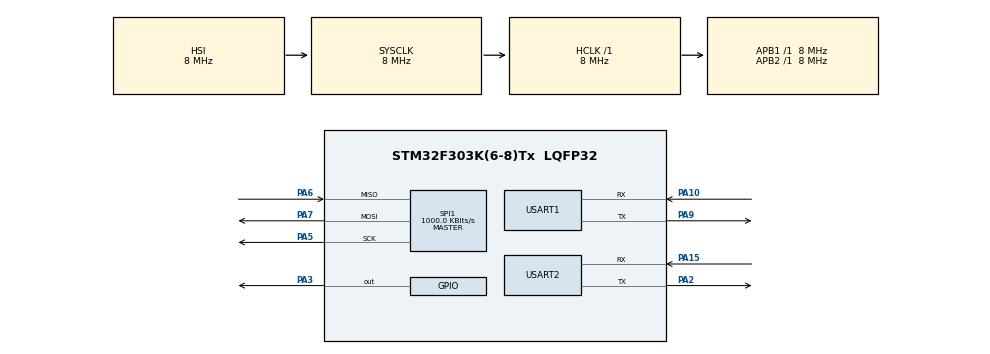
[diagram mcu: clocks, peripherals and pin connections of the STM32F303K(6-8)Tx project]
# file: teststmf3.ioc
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Mcu.Family=STM32F3
Mcu.Name=STM32F303K(6-8)Tx
Mcu.Package=LQFP32
NVIC.PriorityGroup=NVIC_PRIORITYGROUP_4
PA10.Mode=Asynchronous
PA10.Signal=USART1_RX
PA15.Mode=Asynchronous
PA15.Signal=USART2_RX
PA2.Mode=Asynchronous
PA2.Signal=USART2_TX
PA3.Signal=GPIO_Output
PA5.Mode=Full_Duplex_Master
PA5.Signal=SPI1_SCK
PA6.Mode=Full_Duplex_Master
PA6.Signal=SPI1_MISO
PA7.Mode=Full_Duplex_Master
PA7.Signal=SPI1_MOSI
PA9.Mode=Asynchronous
PA9.Signal=USART1_TX
ProjectManager.HeapSize=0x200
ProjectManager.StackSize=0x400
ProjectManager.TargetToolchain=SW4STM32
RCC.AHBFreq_Value=8000000
RCC.APB1Freq_Value=8000000
RCC.APB2Freq_Value=8000000
RCC.CortexFreq_Value=8000000
RCC.HSE_VALUE=8000000
RCC.HSI_VALUE=8000000
RCC.SYSCLKFreq_VALUE=8000000
SPI1.BaudRatePrescaler=SPI_BAUDRATEPRESCALER_8
SPI1.CalculateBaudRate=1000.0 KBits/s
SPI1.DataSize=SPI_DATASIZE_8BIT
SPI1.Direction=SPI_DIRECTION_2LINES
SPI1.Mode=SPI_MODE_MASTER
SPI1.VirtualType=VM_MASTER
USART1.VirtualMode-Asynchronous=VM_ASYNC
USART2.VirtualMode-Asynchronous=VM_ASYNC
board=custom

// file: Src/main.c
/**
  ******************************************************************************
  * @file           : main.c
  * @brief          : Main program body
  ******************************************************************************
  ** This notice applies to any and all portions of this file
  * that are not between comment pairs USER CODE BEGIN and
  * USER CODE END. Other portions of this file, whether
  * inserted by the user or by software development tools
  * are owned by their respective copyright owners.
  *
  * COPYRIGHT(c) 2018 STMicroelectronics
  *
  * Redistribution and use in source and binary forms, with or without modification,
  * are permitted provided that the following conditions are met:
  *   1. Redistributions of source code must retain the above copyright notice,
  *      this list of conditions and the following disclaimer.
  *   2. Redistributions in binary form must reproduce the above copyright notice,
  *      this list of conditions and the following disclaimer in the documentation
  *      and/or other materials provided with the distribution.
  *   3. Neither the name of STMicroelectronics nor the names of its contributors
  *      may be used to endorse or promote products derived from this software
  *      without specific prior written permission.
  *
  * THIS SOFTWARE IS PROVIDED BY THE COPYRIGHT HOLDERS AND CONTRIBUTORS "AS IS"
  * AND ANY EXPRESS OR IMPLIED WARRANTIES, INCLUDING, BUT NOT LIMITED TO, THE
  * IMPLIED WARRANTIES OF MERCHANTABILITY AND FITNESS FOR A PARTICULAR PURPOSE ARE
  * DISCLAIMED. IN NO EVENT SHALL THE COPYRIGHT HOLDER OR CONTRIBUTORS BE LIABLE
  * FOR ANY DIRECT, INDIRECT, INCIDENTAL, SPECIAL, EXEMPLARY, OR CONSEQUENTIAL
  * DAMAGES (INCLUDING, BUT NOT LIMITED TO, PROCUREMENT OF SUBSTITUTE GOODS OR
  * SERVICES; LOSS OF USE, DATA, OR PROFITS; OR BUSINESS INTERRUPTION) HOWEVER
  * CAUSED AND ON ANY THEORY OF LIABILITY, WHETHER IN CONTRACT, STRICT LIABILITY,
  * OR TORT (INCLUDING NEGLIGENCE OR OTHERWISE) ARISING IN ANY WAY OUT OF THE USE
  * OF THIS SOFTWARE, EVEN IF ADVISED OF THE POSSIBILITY OF SUCH DAMAGE.
  *
  ******************************************************************************
  */
#include "main.h"
#include "stm32f3xx_hal.h"
#include "ltc68xx.h"

SPI_HandleTypeDef hspi1;

UART_HandleTypeDef huart1;
UART_HandleTypeDef huart2;

/* USER CODE BEGIN PV */
/* Private variables ---------------------------------------------------------*/

uint8_t cell_data[9];
float cell_voltages[108];
float gpio_voltages[6];
uint16_t cell_v[12][2];
uint16_t gpio_v[6][2];
/* USER CODE END PV */

void SystemClock_Config(void);
static void MX_GPIO_Init(void);
static void MX_SPI1_Init(void);
static void MX_USART1_UART_Init(void);
static void MX_USART2_UART_Init(void);

/* USER CODE BEGIN PFP */
/* Private function prototypes -----------------------------------------------*/

/* USER CODE END PFP */

int main(void)
{

  /* MCU Configuration----------------------------------------------------------*/

  /* Reset of all peripherals, Initializes the Flash interface and the Systick. */
  HAL_Init();

  /* Configure the system clock */
  SystemClock_Config();

  /* Initialize all configured peripherals */
  MX_GPIO_Init();
  MX_SPI1_Init();
  MX_USART1_UART_Init();
  MX_USART2_UART_Init();

  /* Infinite loop */
  /* USER CODE BEGIN WHILE */
  while (1)
  {
//		 ltc6804_rdcv_reg(0, TOT_IC, cell_data, hspi1);
//
	ltc6804_adcv(0, &hspi1);
	// ltc6804_adstat( &hspi1);
			  HAL_Delay(10);
			   for(uint8_t current_ic = 0; current_ic < 12; current_ic++){
	ltc6804_rdcv_voltages(current_ic, cell_v,  hspi1);
			 // void ltc6804_rdstat(SPI_HandleTypeDef hspi1,uint16_t cell_voltages[12][2] );
					//HAL_Delay(500);
			 	//  array_voltages(voltages, cell_data);

			 	 	char num[2];
			 	 	sprintf(num, "\r\n");
			 	 	HAL_UART_Transmit(&huart2, &num, strlen(num), 100);
			 	 	 for(int i = 0; i < 12; i++){
			 	 		 char v[32];
			 	 		 sprintf(v, "%d - ",cell_v[i][0]);
			 	 		 HAL_UART_Transmit(&huart2, &v, strlen(v), 100);
			 	 		HAL_Delay(100);
 	 		 cell_voltages[0*12+i] = cell_v[i][0]*0.0001f;
		 	  	 }
  }
//   ltc6804_adax(0,&hspi1);
//  HAL_Delay(10);
// ltc6804_rdaux(0, gpio_voltages,&hspi1);
////
//   char num[2];
//   HAL_UART_Transmit(&huart2, &num, strlen(num), 100);
//	   	 	 		 	 	 for(int i = 0; i < 6; i++){
//	   	 	 		 	 		 char v[32];
//	   	 	 		 	 		 sprintf(v, "%d - ",gpio_v[i][0]);
//	   	 	 		 	 		 HAL_UART_Transmit(&huart2, &v, strlen(v), 100);
//	   	 	 		 	   HAL_Delay(100);
//	   	 	 		 	 	gpio_voltages[i] = gpio_v[i][0]*0.0001f;
//	   	 	 		 	  	 }
  /* USER CODE END WHILE */

  }

}

void SystemClock_Config(void)
{

  RCC_OscInitTypeDef RCC_OscInitStruct;
  RCC_ClkInitTypeDef RCC_ClkInitStruct;
  RCC_PeriphCLKInitTypeDef PeriphClkInit;

    /**Initializes the CPU, AHB and APB busses clocks
    */
  RCC_OscInitStruct.OscillatorType = RCC_OSCILLATORTYPE_HSI;
  RCC_OscInitStruct.HSIState = RCC_HSI_ON;
  RCC_OscInitStruct.HSICalibrationValue = 16;
  RCC_OscInitStruct.PLL.PLLState = RCC_PLL_NONE;
  if (HAL_RCC_OscConfig(&RCC_OscInitStruct) != HAL_OK)
  {
    _Error_Handler(__FILE__, __LINE__);
  }

    /**Initializes the CPU, AHB and APB busses clocks
    */
  RCC_ClkInitStruct.ClockType = RCC_CLOCKTYPE_HCLK|RCC_CLOCKTYPE_SYSCLK
                              |RCC_CLOCKTYPE_PCLK1|RCC_CLOCKTYPE_PCLK2;
  RCC_ClkInitStruct.SYSCLKSource = RCC_SYSCLKSOURCE_HSI;
  RCC_ClkInitStruct.AHBCLKDivider = RCC_SYSCLK_DIV1;
  RCC_ClkInitStruct.APB1CLKDivider = RCC_HCLK_DIV1;
  RCC_ClkInitStruct.APB2CLKDivider = RCC_HCLK_DIV1;

  if (HAL_RCC_ClockConfig(&RCC_ClkInitStruct, FLASH_LATENCY_0) != HAL_OK)
  {
    _Error_Handler(__FILE__, __LINE__);
  }

  PeriphClkInit.PeriphClockSelection = RCC_PERIPHCLK_USART1;
  PeriphClkInit.Usart1ClockSelection = RCC_USART1CLKSOURCE_PCLK1;
  if (HAL_RCCEx_PeriphCLKConfig(&PeriphClkInit) != HAL_OK)
  {
    _Error_Handler(__FILE__, __LINE__);
  }

    /**Configure the Systick interrupt time
    */
  HAL_SYSTICK_Config(HAL_RCC_GetHCLKFreq()/1000);

    /**Configure the Systick
    */
  HAL_SYSTICK_CLKSourceConfig(SYSTICK_CLKSOURCE_HCLK);

  /* SysTick_IRQn interrupt configuration */
  HAL_NVIC_SetPriority(SysTick_IRQn, 0, 0);
}

/* SPI1 init function */
static void MX_SPI1_Init(void)
{

  /* SPI1 parameter configuration*/
  hspi1.Instance = SPI1;
  hspi1.Init.Mode = SPI_MODE_MASTER;
  hspi1.Init.Direction = SPI_DIRECTION_2LINES;
  hspi1.Init.DataSize = SPI_DATASIZE_8BIT;
  hspi1.Init.CLKPolarity = SPI_POLARITY_LOW;
  hspi1.Init.CLKPhase = SPI_PHASE_1EDGE;
  hspi1.Init.NSS = SPI_NSS_SOFT;
  hspi1.Init.BaudRatePrescaler = SPI_BAUDRATEPRESCALER_8;
  hspi1.Init.FirstBit = SPI_FIRSTBIT_MSB;
  hspi1.Init.TIMode = SPI_TIMODE_DISABLE;
  hspi1.Init.CRCCalculation = SPI_CRCCALCULATION_DISABLE;
  hspi1.Init.CRCPolynomial = 7;
  hspi1.Init.CRCLength = SPI_CRC_LENGTH_DATASIZE;
  hspi1.Init.NSSPMode = SPI_NSS_PULSE_ENABLE;
  if (HAL_SPI_Init(&hspi1) != HAL_OK)
  {
    _Error_Handler(__FILE__, __LINE__);
  }

}

/* USART1 init function */
static void MX_USART1_UART_Init(void)
{

  huart1.Instance = USART1;
  huart1.Init.BaudRate = 38400;
  huart1.Init.WordLength = UART_WORDLENGTH_8B;
  huart1.Init.StopBits = UART_STOPBITS_1;
  huart1.Init.Parity = UART_PARITY_NONE;
  huart1.Init.Mode = UART_MODE_TX_RX;
  huart1.Init.HwFlowCtl = UART_HWCONTROL_NONE;
  huart1.Init.OverSampling = UART_OVERSAMPLING_16;
  huart1.Init.OneBitSampling = UART_ONE_BIT_SAMPLE_DISABLE;
  huart1.AdvancedInit.AdvFeatureInit = UART_ADVFEATURE_NO_INIT;
  if (HAL_UART_Init(&huart1) != HAL_OK)
  {
    _Error_Handler(__FILE__, __LINE__);
  }

}

/* USART2 init function */
static void MX_USART2_UART_Init(void)
{

  huart2.Instance = USART2;
  huart2.Init.BaudRate = 38400;
  huart2.Init.WordLength = UART_WORDLENGTH_8B;
  huart2.Init.StopBits = UART_STOPBITS_1;
  huart2.Init.Parity = UART_PARITY_NONE;
  huart2.Init.Mode = UART_MODE_TX_RX;
  huart2.Init.HwFlowCtl = UART_HWCONTROL_NONE;
  huart2.Init.OverSampling = UART_OVERSAMPLING_16;
  huart2.Init.OneBitSampling = UART_ONE_BIT_SAMPLE_DISABLE;
  huart2.AdvancedInit.AdvFeatureInit = UART_ADVFEATURE_NO_INIT;
  if (HAL_UART_Init(&huart2) != HAL_OK)
  {
    _Error_Handler(__FILE__, __LINE__);
  }

}

/** Configure pins as
        * Analog
        * Input
        * Output
        * EVENT_OUT
        * EXTI
*/
static void MX_GPIO_Init(void)
{

  GPIO_InitTypeDef GPIO_InitStruct;

  /* GPIO Ports Clock Enable */
  __HAL_RCC_GPIOA_CLK_ENABLE();

  /*Configure GPIO pin Output Level */
  HAL_GPIO_WritePin(GPIOA, GPIO_PIN_3, GPIO_PIN_RESET);

  /*Configure GPIO pin : PA3 */
  GPIO_InitStruct.Pin = GPIO_PIN_3;
  GPIO_InitStruct.Mode = GPIO_MODE_OUTPUT_PP;
  GPIO_InitStruct.Pull = GPIO_NOPULL;
  GPIO_InitStruct.Speed = GPIO_SPEED_FREQ_LOW;
  HAL_GPIO_Init(GPIOA, &GPIO_InitStruct);

}

void _Error_Handler(char *file, int line)
{
  while(1)
  {
  }
}

/************************ (C) COPYRIGHT STMicroelectronics *****END OF FILE****/
